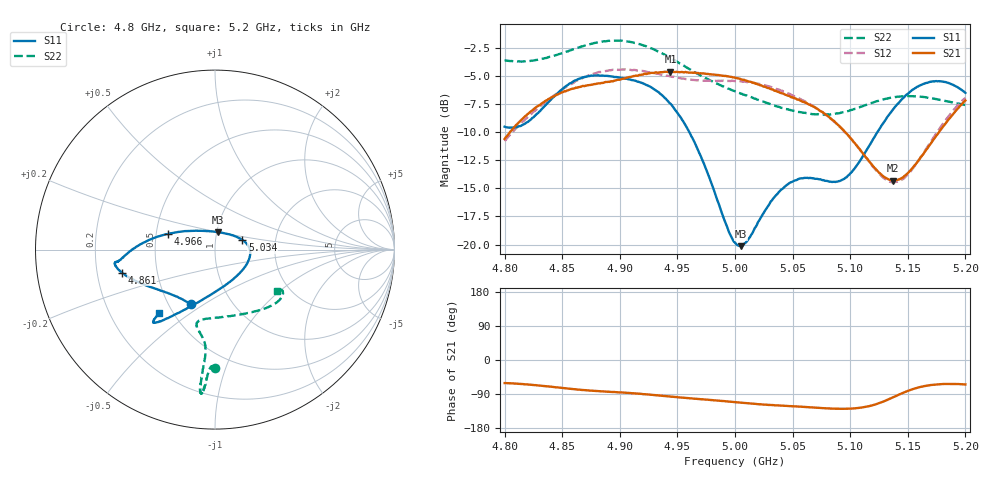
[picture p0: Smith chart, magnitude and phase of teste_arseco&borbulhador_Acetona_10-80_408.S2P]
! Network Analyzer HP8722D
! Hewlett-Packard
! Data name: Linha & Wilkinson
! Saver's name: Rodrigo Anjos
! Comments: Teste da utilização de aquisição
! continua pelo VNA HP8722D
! Time and date: 17/4/2025 17:45
!  Frequency  S11  S21  S12  S22
# HZ  S  MA R 50
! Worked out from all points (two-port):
!   401 points, 4.8 GHz to 5.2 GHz, reference 50 ohm
!   highest |S21| = -4.64 dB at 4.944 GHz (marker M1); lowest = -14.3 dB at 5.137 GHz (marker M2)
!   |S21| within 3 dB of the highest: 4.83 GHz to 5.066 GHz (236.2 MHz wide, 4.77 % of centre); 5.195691 GHz to end of sweep
!   lowest |S11| = -20.1 dB at 5.005 GHz (marker M3), VSWR 1.22, Z = 50.7 + j9.94 ohm
!   |S11| at or under -10 dB: 4.96 GHz to 5.124 GHz (163.4 MHz wide, 3.24 % of centre)
!   |S22| runs from -8.5 to -1.9 dB; largest |S21 - S12| = 0.88
!   S11 on the Smith chart (normalised r, x): 4.8 GHz: 0.64, -0.44; 4.861 GHz: 0.31, -0.11; 4.966 GHz: 0.58, +0.11; 5.034 GHz: 1.35, +0.15; 5.2 GHz: 0.42, -0.38
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4.8e9  0.334 -113.9  0.2944 -60.9  0.2882 -175.1  0.657 -90.1
4.819e9  0.3485 -134.1  0.3753 -64.3  0.3637 -174.0  0.6522 -91.7
4.861e9  0.5351 -166.1  0.4947 -77.2  0.5295 -177.1  0.7397 -94.1
4.867e9  0.5507 -168.4  0.5045 -79.1  0.5461 -178.2  0.7588 -94.1
4.9e9  0.552 -172.9  0.5397 -85.5  0.5975 175.3  0.8038 -95.7
4.934e9  0.4736 -179.0  0.5811 -93.8  0.5723 171.6  0.7162 -96.1
4.944e9  0.4222 176.4  0.5859 -96.5  0.5588 171.7  0.6747 -95.8
4.966e9  0.2762 161.5  0.5786 -102.3  0.537 173.6  0.5794 -95.3
5e9  0.102 97.9  0.5506 -111.3  0.5322 176.0  0.4792 -99.5
5.005e9  0.09844 80.4  0.5425 -112.7  0.5302 176.0  0.4683 -100.4
5.012e9  0.1065 58.1  0.5291 -114.6  0.5262 175.7  0.4548 -102.0
5.034e9  0.1622 19.6  0.4823 -119.4  0.4966 174.6  0.4146 -103.6
5.049e9  0.1896 4.4  0.4507 -121.9  0.4619 174.1  0.3946 -99.8
5.067e9  0.1974 -14.8  0.4124 -125.2  0.4154 173.3  0.3796 -90.5
5.086e9  0.1903 -45.2  0.3541 -128.3  0.3515 173.5  0.3803 -76.0
5.097e9  0.1993 -67.9  0.31 -128.6  0.3106 174.8  0.3906 -67.0
5.134e9  0.3789 -117.3  0.194 -103.0  0.1905 -156.0  0.4475 -43.0
5.137e9  0.397 -119.1  0.1923 -98.9  0.1892 -151.1  0.4506 -41.7
5.15e9  0.4671 -125.0  0.2076 -81.6  0.2046 -131.3  0.4564 -36.8
5.17e9  0.5285 -129.5  0.2812 -66.0  0.2862 -112.3  0.4469 -32.1
5.184e9  0.5241 -130.9  0.3527 -63.1  0.3638 -107.3  0.4332 -31.1
5.2e9  0.4716 -131.2  0.4364 -64.6  0.4486 -106.7  0.4164 -33.5
